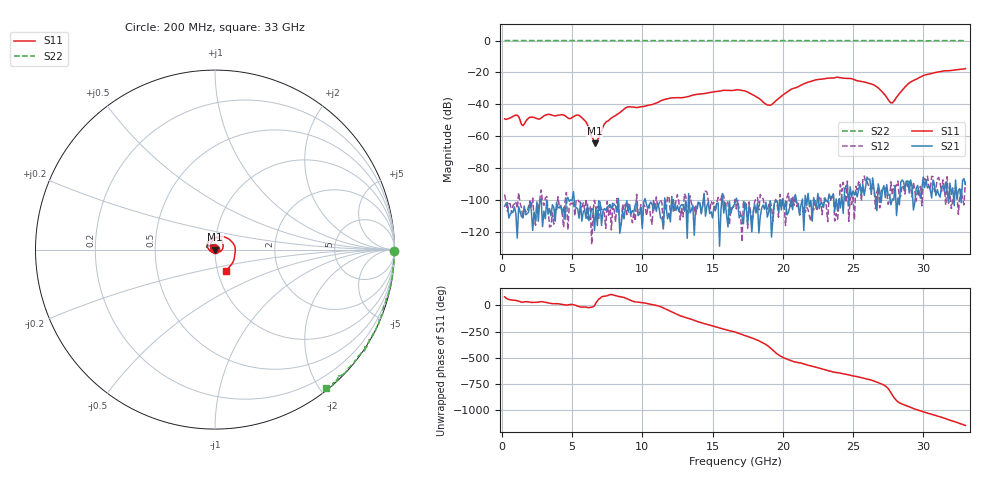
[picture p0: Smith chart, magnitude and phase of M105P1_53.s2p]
# GHZ S RI R 50
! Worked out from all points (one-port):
!   329 points, 200 MHz to 33 GHz, reference 50 ohm
!   lowest |S11| = -64.3 dB at 6.6 GHz (marker M1), VSWR 1.00, Z = 50.1 - j0.0055 ohm
!   |S11| at or under -10 dB: start of sweep to end of sweep
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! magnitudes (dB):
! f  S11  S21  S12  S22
! 200 MHz  -49.1  -103.9  -96.5  0.0
! 1.1 GHz  -46.8  -123.8  -105.2  0.0
! 1.5 GHz  -53.3  -111.0  -111.6  0.0
! 2 GHz  -48.1  -101.5  -100.5  0.0
! 3.3 GHz  -46.3  -108.9  -106.0  0.0
! 5.7 GHz  -48.4  -113.2  -104.4  0.0
! 6.1 GHz  -52.8  -102.6  -111.7  0.0
! 6.6 GHz  -64.3  -119.0  -100.1  0.0
! 7.4 GHz  -51.4  -106.4  -117.8  0.0
! 8.8 GHz  -42.3  -104.6  -102.7  0.0
! 11.2 GHz  -38.4  -105.3  -102.0  0.0
! 16.6 GHz  -31.1  -101.9  -99.7  0.0
! 17.4 GHz  -31.9  -105.0  -101.6  0.0
! 19.1 GHz  -40.5  -100.5  -100.7  0.0
! 20.6 GHz  -30.5  -99.1  -104.1  0.0
! 22.1 GHz  -25.3  -113.2  -106.2  0.0
! 23.9 GHz  -23.0  -106.9  -112.0  0.0
! 25.8 GHz  -25.9  -97.1  -85.0  0.0
! 26.8 GHz  -29.7  -89.8  -92.0  0.0
! 27.6 GHz  -38.2  -97.1  -100.6  0.0
! 30 GHz  -22.0  -85.6  -86.9  -0.1
! 33 GHz  -17.6  -90.4  -88.3  -0.1
